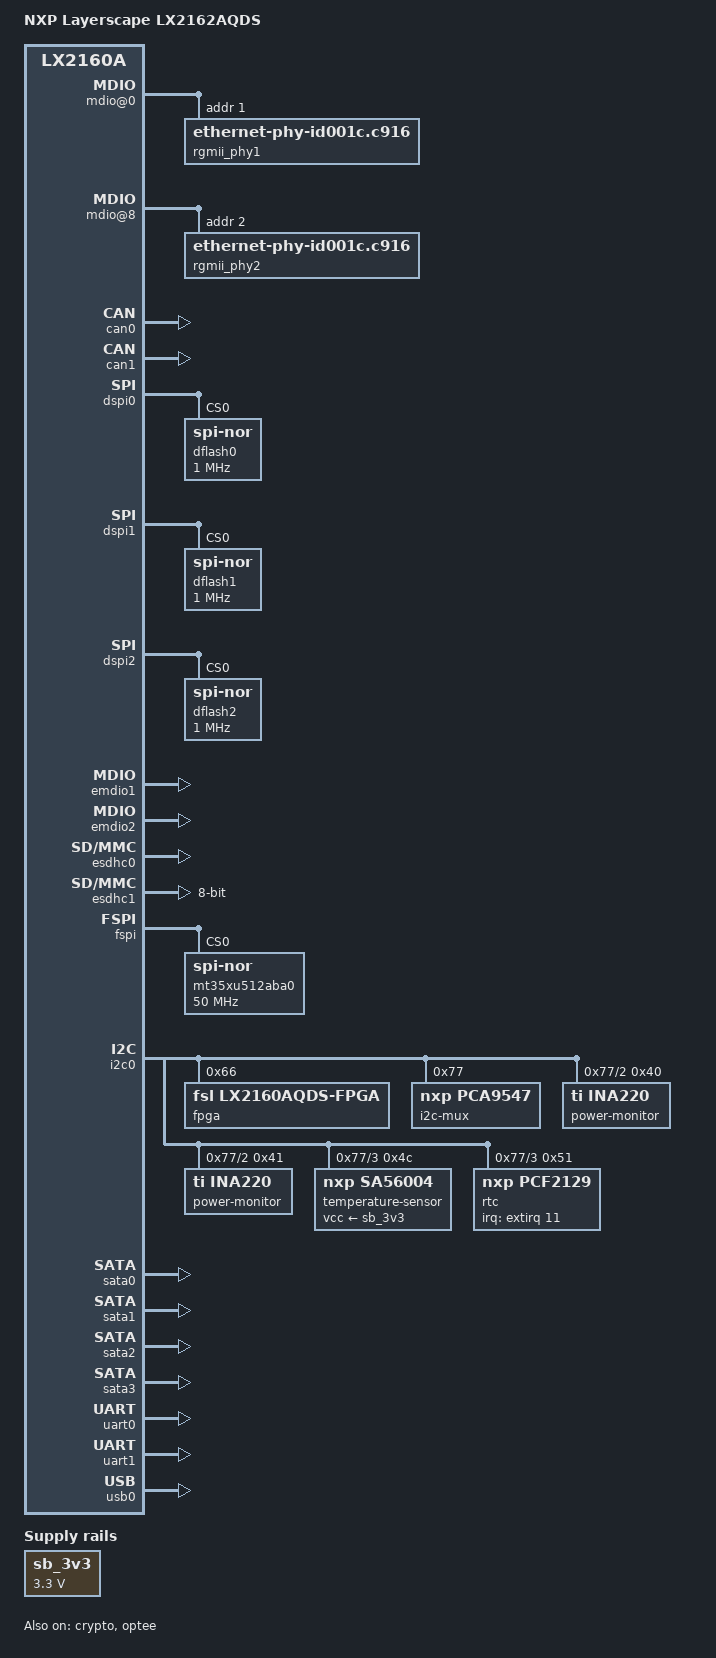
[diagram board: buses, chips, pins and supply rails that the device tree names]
// SPDX-License-Identifier: (GPL-2.0 OR MIT)
//
// Device Tree file for LX2162AQDS
//
// Copyright 2020 NXP

/dts-v1/;

#include "fsl-lx2160a.dtsi"

/ {
	model = "NXP Layerscape LX2162AQDS";
	compatible = "fsl,lx2162a-qds", "fsl,lx2160a";

	aliases {
		crypto = &crypto;
		mmc0 = &esdhc0;
		mmc1 = &esdhc1;
		serial0 = &uart0;
	};

	chosen {
		stdout-path = "serial0:115200n8";
	};

	sb_3v3: regulator-sb3v3 {
		compatible = "regulator-fixed";
		regulator-name = "LTM4619-3.3VSB";
		regulator-min-microvolt = <3300000>;
		regulator-max-microvolt = <3300000>;
	};

	mdio-mux-1 {
		compatible = "mdio-mux-multiplexer";
		mux-controls = <&mux 0>;
		mdio-parent-bus = <&emdio1>;
		#address-cells = <1>;
		#size-cells = <0>;

		mdio@0 { /* On-board RTL8211F PHY #1 RGMII1 */
			reg = <0x00>;
			#address-cells = <1>;
			#size-cells = <0>;

			rgmii_phy1: ethernet-phy@1 {
				compatible = "ethernet-phy-id001c.c916";
				reg = <0x1>;
				eee-broken-1000t;
			};
		};

		mdio@8 { /* On-board RTL8211F PHY #2 RGMII2 */
			reg = <0x8>;
			#address-cells = <1>;
			#size-cells = <0>;

			rgmii_phy2: ethernet-phy@2 {
				compatible = "ethernet-phy-id001c.c916";
				reg = <0x2>;
				eee-broken-1000t;
			};
		};

		mdio@18 { /* Slot #1 */
			reg = <0x18>;
			#address-cells = <1>;
			#size-cells = <0>;
		};

		mdio@19 { /* Slot #2 */
			reg = <0x19>;
			#address-cells = <1>;
			#size-cells = <0>;
		};

		mdio@1a { /* Slot #3 */
			reg = <0x1a>;
			#address-cells = <1>;
			#size-cells = <0>;
		};

		mdio@1b { /* Slot #4 */
			reg = <0x1b>;
			#address-cells = <1>;
			#size-cells = <0>;
		};

		mdio@1c { /* Slot #5 */
			reg = <0x1c>;
			#address-cells = <1>;
			#size-cells = <0>;
		};

		mdio@1d { /* Slot #6 */
			reg = <0x1d>;
			#address-cells = <1>;
			#size-cells = <0>;
		};

		mdio@1e { /* Slot #7 */
			reg = <0x1e>;
			#address-cells = <1>;
			#size-cells = <0>;
		};

		mdio@1f { /* Slot #8 */
			reg = <0x1f>;
			#address-cells = <1>;
			#size-cells = <0>;
		};
	};

	mdio-mux-2 {
		compatible = "mdio-mux-multiplexer";
		mux-controls = <&mux 1>;
		mdio-parent-bus = <&emdio2>;
		#address-cells = <1>;
		#size-cells = <0>;

		mdio@0 { /* Slot #1 (secondary EMI) */
			reg = <0x00>;
			#address-cells = <1>;
			#size-cells = <0>;
		};

		mdio@1 { /* Slot #2 (secondary EMI) */
			reg = <0x01>;
			#address-cells = <1>;
			#size-cells = <0>;
		};

		mdio@2 { /* Slot #3 (secondary EMI) */
			reg = <0x02>;
			#address-cells = <1>;
			#size-cells = <0>;
		};

		mdio@3 { /* Slot #4 (secondary EMI) */
			reg = <0x03>;
			#address-cells = <1>;
			#size-cells = <0>;
		};

		mdio@4 { /* Slot #5 (secondary EMI) */
			reg = <0x04>;
			#address-cells = <1>;
			#size-cells = <0>;
		};

		mdio@5 { /* Slot #6 (secondary EMI) */
			reg = <0x05>;
			#address-cells = <1>;
			#size-cells = <0>;
		};

		mdio@6 { /* Slot #7 (secondary EMI) */
			reg = <0x06>;
			#address-cells = <1>;
			#size-cells = <0>;
		};

		mdio@7 { /* Slot #8 (secondary EMI) */
			reg = <0x07>;
			#address-cells = <1>;
			#size-cells = <0>;
		};
	};
};

&can0 {
	status = "okay";
};

&can1 {
	status = "okay";
};

&crypto {
	status = "okay";
};

&dpmac17 {
	phy-handle = <&rgmii_phy1>;
	phy-connection-type = "rgmii-id";
};

&dpmac18 {
	phy-handle = <&rgmii_phy2>;
	phy-connection-type = "rgmii-id";
};

&dspi0 {
	status = "okay";

	dflash0: flash@0 {
		#address-cells = <1>;
		#size-cells = <1>;
		compatible = "jedec,spi-nor";
		reg = <0>;
		spi-max-frequency = <1000000>;
	};
};

&dspi1 {
	status = "okay";

	dflash1: flash@0 {
		#address-cells = <1>;
		#size-cells = <1>;
		compatible = "jedec,spi-nor";
		reg = <0>;
		spi-max-frequency = <1000000>;
	};
};

&dspi2 {
	status = "okay";

	dflash2: flash@0 {
		#address-cells = <1>;
		#size-cells = <1>;
		compatible = "jedec,spi-nor";
		reg = <0>;
		spi-max-frequency = <1000000>;
	};
};

&emdio1 {
	status = "okay";
};

&emdio2 {
	status = "okay";
};

&esdhc0 {
	sd-uhs-sdr104;
	sd-uhs-sdr50;
	sd-uhs-sdr25;
	sd-uhs-sdr12;
	status = "okay";
};

&esdhc1 {
	mmc-hs200-1_8v;
	mmc-hs400-1_8v;
	bus-width = <8>;
	status = "okay";
};

&fspi {
	status = "okay";

	mt35xu512aba0: flash@0 {
		#address-cells = <1>;
		#size-cells = <1>;
		compatible = "jedec,spi-nor";
		m25p,fast-read;
		spi-max-frequency = <50000000>;
		reg = <0>;
		spi-rx-bus-width = <8>;
		spi-tx-bus-width = <8>;
	};
};

&i2c0 {
	status = "okay";

	fpga@66 {
		compatible = "fsl,lx2160aqds-fpga", "fsl,fpga-qixis-i2c",
			     "simple-mfd";
		reg = <0x66>;

		mux: mux-controller {
			compatible = "reg-mux";
			#mux-control-cells = <1>;
			mux-reg-masks = <0x54 0xf8>, /* 0: reg 0x54, bits 7:3 */
					<0x54 0x07>; /* 1: reg 0x54, bit 2:0 */
		};
	};

	i2c-mux@77 {
		compatible = "nxp,pca9547";
		reg = <0x77>;
		#address-cells = <1>;
		#size-cells = <0>;

		i2c@2 {
			#address-cells = <1>;
			#size-cells = <0>;
			reg = <0x2>;

			power-monitor@40 {
				compatible = "ti,ina220";
				reg = <0x40>;
				shunt-resistor = <500>;
			};

			power-monitor@41 {
				compatible = "ti,ina220";
				reg = <0x41>;
				shunt-resistor = <1000>;
			};
		};

		i2c@3 {
			#address-cells = <1>;
			#size-cells = <0>;
			reg = <0x3>;

			temperature-sensor@4c {
				compatible = "nxp,sa56004";
				reg = <0x4c>;
				vcc-supply = <&sb_3v3>;
			};

			rtc@51 {
				compatible = "nxp,pcf2129";
				reg = <0x51>;
				/* IRQ_RTC_B -> IRQ11_B(CPLD) -> IRQ11(CPU), active low */
				interrupts-extended = <&extirq 11 IRQ_TYPE_LEVEL_LOW>;
			};
		};
	};
};

&optee {
	status = "okay";
};

&sata0 {
	status = "okay";
};

&sata1 {
	status = "okay";
};

&sata2 {
	status = "okay";
};

&sata3 {
	status = "okay";
};

&uart0 {
	status = "okay";
};

&uart1 {
	status = "okay";
};

&usb0 {
	status = "okay";
};
